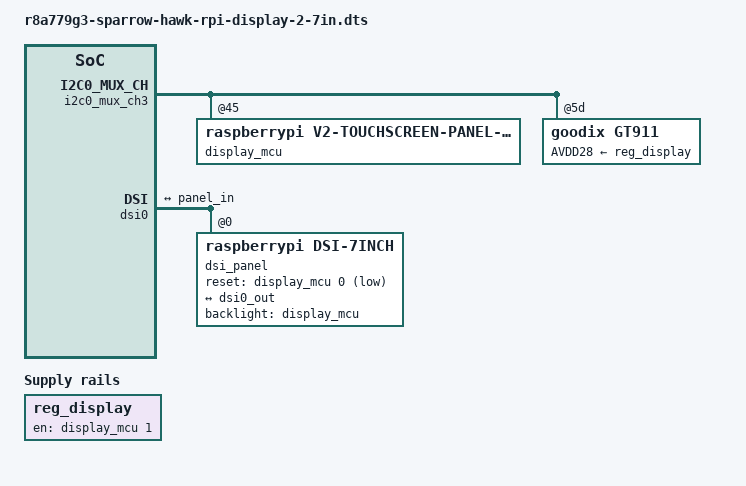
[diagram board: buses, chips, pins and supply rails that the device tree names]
// SPDX-License-Identifier: GPL-2.0
/*
 * Device Tree Overlay for the Sparrow Hawk board on DSI0 port
 *
 * Copyright 2026 Retronix Technology Corp.
 */
 
/dts-v1/;
/plugin/;
#include <dt-bindings/gpio/gpio.h>

&{/} {
	reg_display: reg_display {
		compatible = "regulator-fixed";
		regulator-name = "reg_display";
		gpio = <&display_mcu 1 GPIO_ACTIVE_HIGH>;
		startup-delay-us = <50000>;
		enable-active-high;
	};
};

&i2c0_mux_ch3 {
	display_mcu: display_mcu@45
	{
		compatible = "raspberrypi,v2-touchscreen-panel-regulator";
		reg = <0x45>;
		gpio-controller;
		#gpio-cells = <2>;
	};
	
	gt911: gt911@5d {
		compatible = "goodix,gt911";
		reg = <0x5d>;
		AVDD28-supply = <&reg_display>;
		touchscreen-size-x = <720>;
		touchscreen-size-y = <1280>;
		touchscreen-x-mm = <90>;
		touchscreen-y-mm = <151>;
	};
};

&dsi0 {
	status = "okay";

	ports {
		port@1 {
			endpoint {
				remote-endpoint = <&panel_in>;
				data-lanes = <1 2>;
			};
		};
	};

	dsi_panel: dsi_panel@0 {
		reg = <0>;
		compatible = "raspberrypi,dsi-7inch";
		reset-gpio = <&display_mcu 0 GPIO_ACTIVE_LOW>;
		backlight = <&display_mcu>;

		port {
			panel_in: endpoint {
				remote-endpoint = <&dsi0_out>;
			};
		};
	};
};
